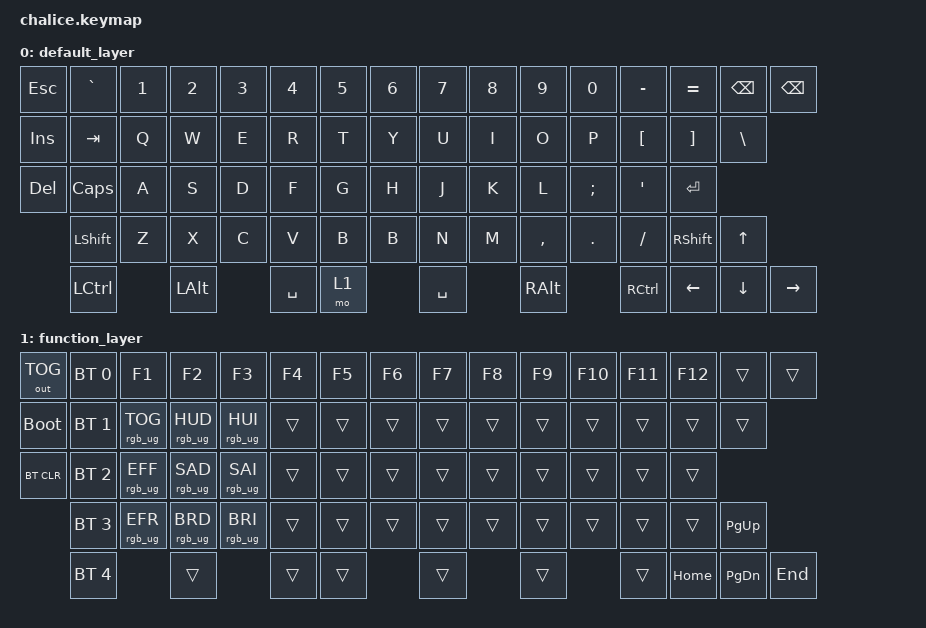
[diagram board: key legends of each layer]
/*
 * Copyright (c) 2021 The ZMK Contributors
 *
 * SPDX-License-Identifier: MIT
 */

#include <behaviors.dtsi>
#include <dt-bindings/zmk/keys.h>
#include <dt-bindings/zmk/bt.h>
#include <dt-bindings/zmk/rgb.h>
#include <dt-bindings/zmk/outputs.h>
#include <dt-bindings/zmk/ext_power.h>

/ {
        chosen { zmk,kscan = &kscan0; zmk,matrix_transform = &splitbs_transform; };
        keymap {
                compatible = "zmk,keymap";

                default_layer {

                        bindings = <
   &kp ESC         &kp GRAVE    &kp N1       &kp N2       &kp N3       &kp N4       &kp N5       &kp N6       &kp N7       &kp N8       &kp N9       &kp N0       &kp MINUS    &kp EQUAL    &kp BSPC     &kp BSPC
   &kp INSERT      &kp TAB      &kp Q        &kp W        &kp E        &kp R        &kp T        &kp Y        &kp U        &kp I        &kp O        &kp P        &kp LBKT     &kp RBKT     &kp BSLH
   &kp DELETE      &kp CAPS     &kp A        &kp S        &kp D        &kp F        &kp G        &kp H        &kp J        &kp K        &kp L        &kp SEMI     &kp SQT      &kp ENTER
                   &kp LSHFT    &kp Z        &kp X        &kp C        &kp V        &kp B        &kp B        &kp N        &kp M        &kp COMMA    &kp DOT      &kp SLASH    &kp RSHFT    &kp UP
                   &kp LCTRL                 &kp LALT                  &kp SPACE    &mo 1                     &kp SPACE                 &kp RALT                  &kp RCTRL    &kp LEFT     &kp DOWN     &kp RIGHT
                                >;
                        };

                function_layer {

                        bindings = <
   &out OUT_TOG    &bt BT_SEL 0 &kp F1           &kp F2          &kp F3          &kp F4       &kp F5       &kp F6       &kp F7       &kp F8       &kp F9       &kp F10      &kp F11      &kp F12      &trans       &trans
   &bootloader     &bt BT_SEL 1 &rgb_ug RGB_TOG  &rgb_ug RGB_HUD &rgb_ug RGB_HUI &trans       &trans       &trans       &trans       &trans       &trans       &trans       &trans       &trans       &trans
   &bt BT_CLR      &bt BT_SEL 2 &rgb_ug RGB_EFF  &rgb_ug RGB_SAD &rgb_ug RGB_SAI &trans       &trans       &trans       &trans       &trans       &trans       &trans       &trans       &trans
                   &bt BT_SEL 3 &rgb_ug RGB_EFR  &rgb_ug RGB_BRD &rgb_ug RGB_BRI &trans       &trans       &trans       &trans       &trans       &trans       &trans       &trans       &trans       &kp PG_UP
                   &bt BT_SEL 4                  &trans                          &trans       &trans                    &trans                    &trans                    &trans       &kp HOME     &kp PG_DN    &kp END
                                >;
                        };
        };
};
